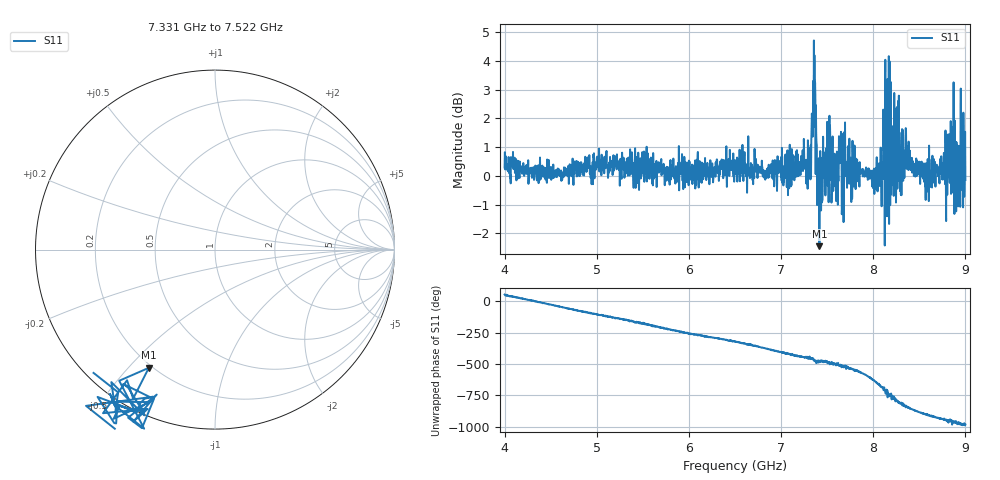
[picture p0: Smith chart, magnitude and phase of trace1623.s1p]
! Created with skrf 1.8.0 (http://scikit-rf.org).
# Hz S RI R 50.0
!freq ReS11 ImS11
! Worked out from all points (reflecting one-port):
!   1601 points, 4 GHz to 9 GHz, reference 50 ohm
!   lowest |S11| = -2.4 dB at 7.416 GHz (marker M1), VSWR 7.16, Z = 9.32 - j28.6 ohm
!   phase of S11 starts at 55 deg and turns -1038 deg over the sweep
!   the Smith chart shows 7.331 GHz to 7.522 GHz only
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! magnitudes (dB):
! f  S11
! 4 GHz  0.3
! 4.625 GHz  -0.1
! 5.25 GHz  -0.3
! 5.875 GHz  0.2
! 6.5 GHz  0.5
! 7.125 GHz  0.4
! 7.3 GHz  0.7
! 7.356 GHz  4.7
! 7.381 GHz  1.5
! 7.397 GHz  -0.4
! 7.416 GHz  -2.4
! 7.512 GHz  1.5
! 7.591 GHz  -0.4
! 7.65 GHz  1.5
! 7.75 GHz  0.4
! 8.066 GHz  0.1
! 8.153 GHz  1.4
! 8.178 GHz  4.0
! 8.209 GHz  1.5
! 8.253 GHz  1.0
! 8.312 GHz  1.6
! 8.375 GHz  0.4
! 8.556 GHz  -0.2
! 8.766 GHz  0.8
! 8.822 GHz  1.4
! 8.919 GHz  -0.3
! 8.972 GHz  0.7
! 9 GHz  -0.1
